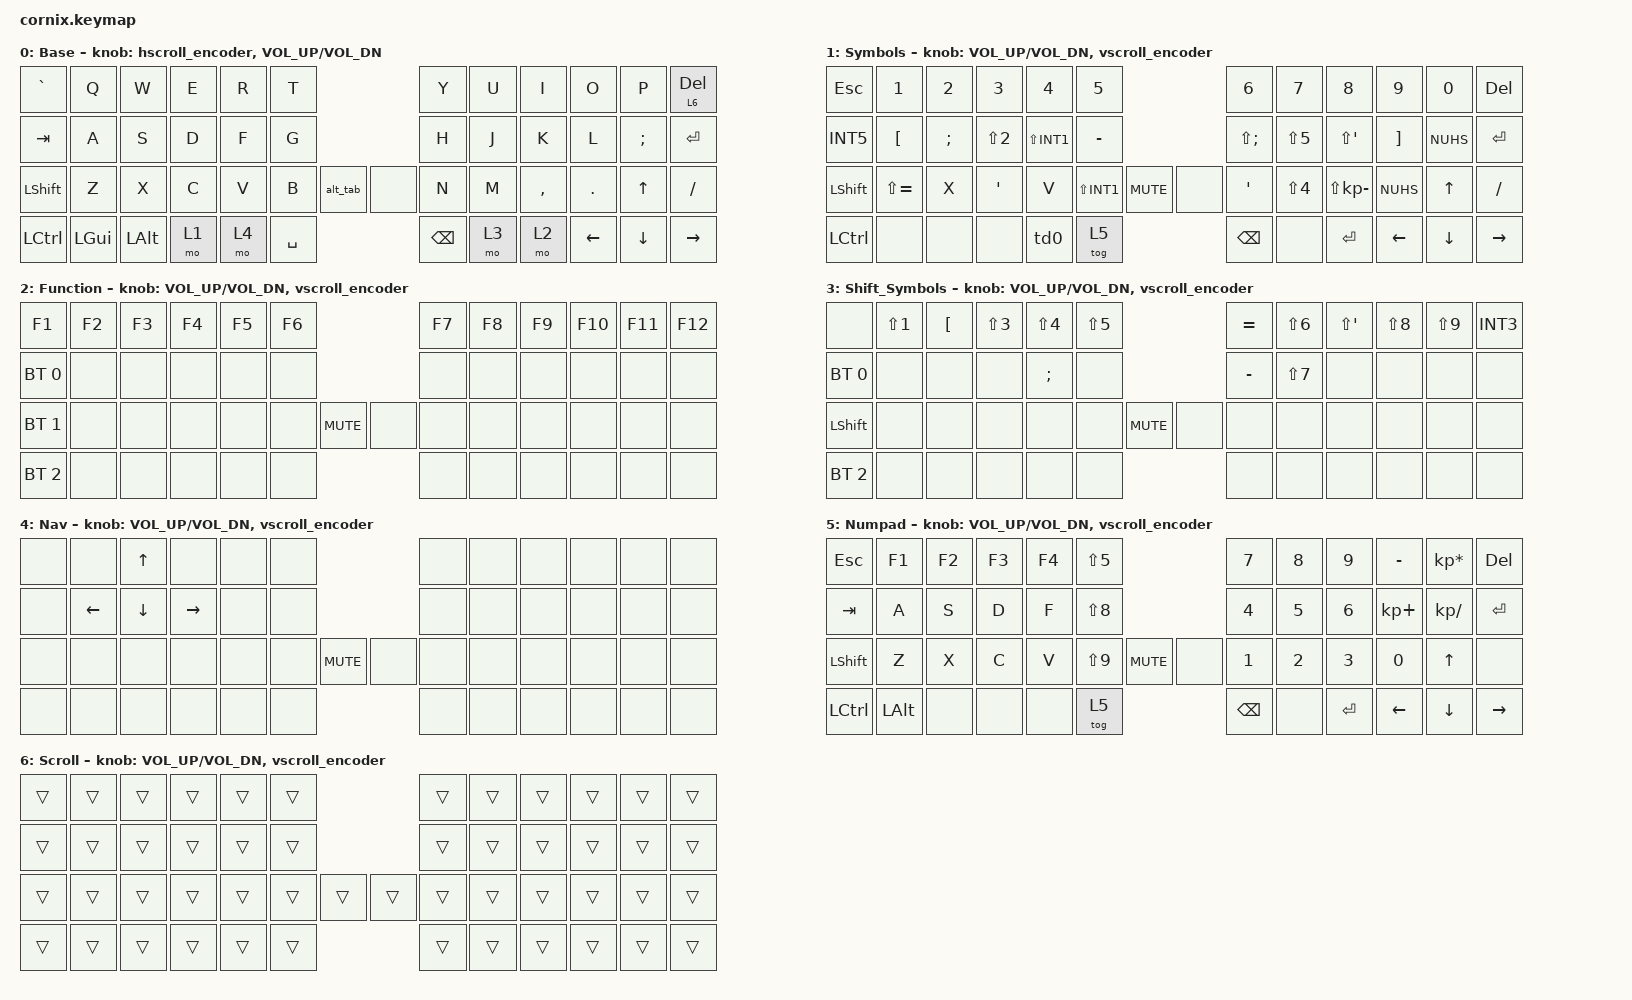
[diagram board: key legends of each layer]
/*
 * Copyright (c) 2020 The ZMK Contributors
 *
 * SPDX-License-Identifier: MIT
 *
 * Vialキーマップ(20260711_キーマップ.vil)から移植。
 * レイヤー番号はVial側の内部レイヤー番号(0-5)にそのまま合わせてある。
 */

#include "zmk-helpers/helper.h"
#include "includes/cornix54.h"
#include <behaviors.dtsi>
#include <dt-bindings/zmk/bt.h>
#include <dt-bindings/zmk/ext_power.h>
#include <dt-bindings/zmk/keys.h>
#include <dt-bindings/zmk/pointing.h>

#define ZMK_POINTING_DEFAULT_SCRL_VAL 15

/ {
    behaviors {
        // tap: ` (GRAVE) / double-tap: 無変換(MHEN)
        td0: tap_dance_grave_mhen {
            compatible = "zmk,behavior-tap-dance";
            #binding-cells = <0>;
            tapping-term-ms = <200>;
            bindings = <&kp GRAVE>, <&kp INT5>;
        };

        // 横方向スクロール用エンコーダ挙動 (CW, CCW)
        hscroll_encoder: hscroll_encoder {
            compatible = "zmk,behavior-sensor-rotate";
            #sensor-binding-cells = <0>;
            bindings = <&msc SCRL_RIGHT>, <&msc SCRL_LEFT>;
        };

        // 縦方向スクロール用エンコーダ挙動 (CW, CCW)
        vscroll_encoder: vscroll_encoder {
            compatible = "zmk,behavior-sensor-rotate";
            #sensor-binding-cells = <0>;
            bindings = <&msc SCRL_DOWN>, <&msc SCRL_UP>;
        };
    };

    macros {
        // GUI+TAB (Windowsのタスク切替相当)
        alt_tab: alt_tab_macro {
            compatible = "zmk,behavior-macro";
            #binding-cells = <0>;
            bindings = <&macro_press &kp LGUI>,
                       <&macro_press &kp TAB>,
                       <&macro_pause_for_release>,
                       <&macro_release &kp TAB>,
                       <&macro_release &kp LGUI>;
        };
    };

    combos {
        compatible = "zmk,combos";

        // ---- 打鍵の遅延対策 ----
        // コンボは「もう1つのキーが来るか」をタイムアウトまで待ってから
        // 単独キーを出力するため、参加キーはその分だけ遅れて出る。
        // ホームポジションのS/D/F/G/H/J/K/Lがほぼ全部参加しているので、
        // 速い入力で体感できる遅延になっていた。
        //
        //   timeout-ms 50 -> 40           : 待ち時間そのものを短縮
        //   require-prior-idle-ms = 150   : 直前に打鍵があればコンボを無効化
        //
        // クリックは文字入力の最中に使うものではないので、
        // 「少し止まってから押す」という条件でも実用上困らない。

        combo_btn1 {
            bindings = <&mkp MB1>;
            key-positions = <19 20>; // J + K
            timeout-ms = <40>;
            require-prior-idle-ms = <150>;
        };

        combo_btn2 {
            bindings = <&mkp MB2>;
            key-positions = <18 20>; // H + K
            timeout-ms = <40>;
            require-prior-idle-ms = <150>;
        };

        combo_btn4 {
            bindings = <&mkp MB4>;
            key-positions = <19 20 21>; // J + K + L
            timeout-ms = <40>;
            require-prior-idle-ms = <150>;
        };

        combo_delete {
            bindings = <&kp DEL>;
            key-positions = <43 44>; // SPACE(左親指) + BSPC(右親指)
            timeout-ms = <40>;
            require-prior-idle-ms = <150>;
        };

        // 左手側のクリックコンボ（F+D / G+D / S+D+F）は、打鍵の遅延を疑って削除した。
        // ホームポジションのS/D/F/Gがコンボ参加キーになるのを避けるため。
        // 遅延の原因が別だと判明したら復活させてよい。
    };

    keymap {
        compatible = "zmk,keymap";

        layer_base {
            display-name = "Base";
            bindings = <
&kp GRAVE     &kp Q         &kp W         &kp E         &kp R         &kp T                                &kp Y         &kp U         &kp I         &kp O         &kp P         &lt 6 DEL
&kp TAB       &kp A         &kp S         &kp D         &kp F         &kp G                                &kp H         &kp J         &kp K         &kp L         &kp SEMI      &kp ENTER
&kp LSHFT     &kp Z         &kp X         &kp C         &kp V         &kp B         &alt_tab  &none         &kp N         &kp M         &kp COMMA     &kp DOT       &kp UP        &kp FSLH
&kp LCTRL     &kp LGUI      &kp LALT      &mo 1         &mo 4         &kp SPACE                            &kp BSPC      &mo 3         &mo 2         &kp LEFT      &kp DOWN      &kp RIGHT
            >;
            sensor-bindings = <&hscroll_encoder &inc_dec_kp C_VOL_UP C_VOL_DN>;
        };

        layer_symbols {
            display-name = "Symbols";
            bindings = <
&kp ESC       &kp N1        &kp N2        &kp N3        &kp N4        &kp N5                               &kp N6        &kp N7        &kp N8        &kp N9        &kp N0        &kp DEL
&kp INT5      &kp LBKT      &kp SEMI      &kp LS(N2)    &kp LS(INT1)  &kp MINUS                            &kp LS(SEMI)  &kp LS(N5)    &kp LS(SQT)   &kp RBKT      &kp NUHS      &kp ENTER
&kp LSHFT     &kp LS(EQUAL) &kp X         &kp SQT       &kp V         &kp LS(INT1)  &kp C_MUTE  &none       &kp SQT       &kp LS(N4)    &kp LS(KP_MINUS)  &kp NUHS  &kp UP        &kp FSLH
&kp LCTRL     &none         &none         &none         &td0          &tog 5                               &kp BSPC      &none         &kp ENTER     &kp LEFT      &kp DOWN      &kp RIGHT
            >;
            sensor-bindings = <&inc_dec_kp C_VOL_UP C_VOL_DN &vscroll_encoder>;
        };

        layer_function {
            display-name = "Function";
            bindings = <
&kp F1        &kp F2        &kp F3        &kp F4        &kp F5        &kp F6                               &kp F7        &kp F8        &kp F9        &kp F10       &kp F11       &kp F12
&bt BT_SEL 0  &none         &none         &none         &none         &none                                &none         &none         &none         &none         &none         &none
&bt BT_SEL 1  &none         &none         &none         &none         &none         &kp C_MUTE  &none       &none         &none         &none         &none         &none         &none
&bt BT_SEL 2  &none         &none         &none         &none         &none                                &none         &none         &none         &none         &none         &none
            >;
            sensor-bindings = <&inc_dec_kp C_VOL_UP C_VOL_DN &vscroll_encoder>;
        };

        layer_shift_symbols {
            display-name = "Shift_Symbols";
            bindings = <
&none         &kp LS(N1)    &kp LBKT      &kp LS(N3)    &kp LS(N4)    &kp LS(N5)                           &kp EQUAL     &kp LS(N6)    &kp LS(SQT)   &kp LS(N8)    &kp LS(N9)    &kp INT3
&bt BT_SEL 0  &none         &none         &none         &kp SEMI      &none                                &kp MINUS     &kp LS(N7)    &none         &none         &none         &none
&kp LSHFT     &none         &none         &none         &none         &none         &kp C_MUTE  &none       &none         &none         &none         &none         &none         &none
&bt BT_SEL 2  &none         &none         &none         &none         &none                                &none         &none         &none         &none         &none         &none
            >;
            sensor-bindings = <&inc_dec_kp C_VOL_UP C_VOL_DN &vscroll_encoder>;
        };

        layer_nav {
            display-name = "Nav";
            bindings = <
&none         &none         &kp UP        &none         &none         &none                                &none         &none         &none         &none         &none         &none
&none         &kp LEFT      &kp DOWN      &kp RIGHT     &none         &none                                &none         &none         &none         &none         &none         &none
&none         &none         &none         &none         &none         &none         &kp C_MUTE  &none       &none         &none         &none         &none         &none         &none
&none         &none         &none         &none         &none         &none                                &none         &none         &none         &none         &none         &none
            >;
            sensor-bindings = <&inc_dec_kp C_VOL_UP C_VOL_DN &vscroll_encoder>;
        };

        layer_numpad {
            display-name = "Numpad";
            bindings = <
&kp ESC       &kp F1        &kp F2        &kp F3        &kp F4        &kp LS(N5)                           &kp N7        &kp N8        &kp N9        &kp MINUS     &kp KP_MULTIPLY  &kp DEL
&kp TAB       &kp A         &kp S         &kp D         &kp F         &kp LS(N8)                           &kp N4        &kp N5        &kp N6        &kp KP_PLUS   &kp KP_DIVIDE &kp ENTER
&kp LSHFT     &kp Z         &kp X         &kp C         &kp V         &kp LS(N9)    &kp C_MUTE  &none       &kp N1        &kp N2        &kp N3        &kp N0        &kp UP        &none
&kp LCTRL     &kp LALT      &none         &none         &none         &tog 5                               &kp BSPC      &none         &kp ENTER     &kp LEFT      &kp DOWN      &kp RIGHT
            >;
            sensor-bindings = <&inc_dec_kp C_VOL_UP C_VOL_DN &vscroll_encoder>;
        };

        // DELキー長押しで乗るスクロール用レイヤー。
        // キーはすべて透過なので、押している間の打鍵は下のレイヤーがそのまま効く。
        // トラックボールの動きだけが tb_receiver.overlay 側でスクロールに変わる。
        layer_scroll {
            display-name = "Scroll";
            bindings = <
&trans        &trans        &trans        &trans        &trans        &trans                               &trans        &trans        &trans        &trans        &trans        &trans
&trans        &trans        &trans        &trans        &trans        &trans                               &trans        &trans        &trans        &trans        &trans        &trans
&trans        &trans        &trans        &trans        &trans        &trans        &trans      &trans      &trans        &trans        &trans        &trans        &trans        &trans
&trans        &trans        &trans        &trans        &trans        &trans                               &trans        &trans        &trans        &trans        &trans        &trans
            >;
            sensor-bindings = <&inc_dec_kp C_VOL_UP C_VOL_DN &vscroll_encoder>;
        };
    };
};
